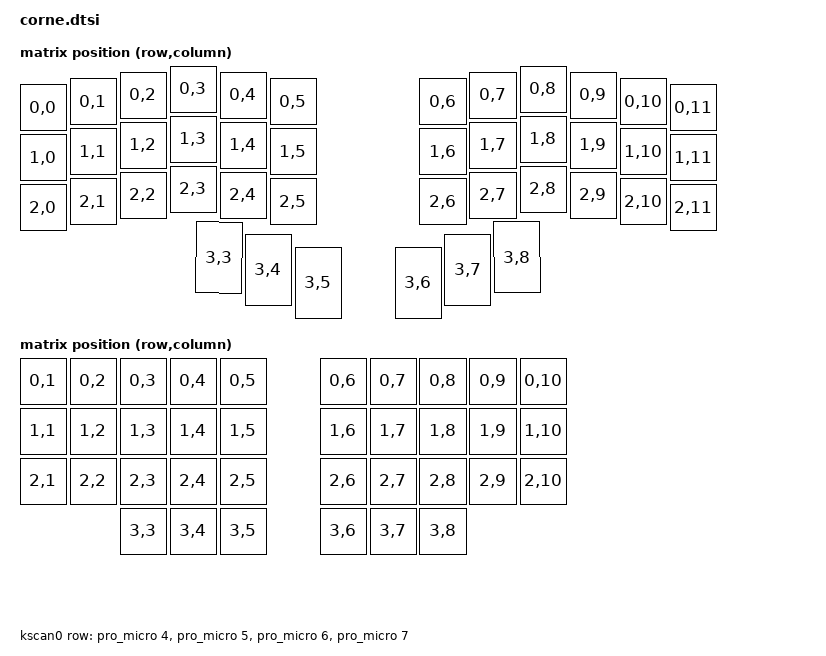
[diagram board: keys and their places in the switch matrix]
/*
 * Copyright (c) 2020 Pete Johanson
 *
 * SPDX-License-Identifier: MIT
 */

#include <dt-bindings/zmk/matrix_transform.h>

/ {
    chosen {
        zmk,kscan = &kscan0;
        zmk,physical-layout = &default_layout;
    };

    default_layout: keymap_layout_0 {
        compatible = "zmk,physical-layout";
        display-name = "Default";

        keys  //                     w   h    x    y     rot   rx   ry
            = <&key_physical_attrs 100 100    0   50       0    0    0>
            , <&key_physical_attrs 100 100  100   38       0    0    0>
            , <&key_physical_attrs 100 100  200   25       0    0    0>
            , <&key_physical_attrs 100 100  300   13       0    0    0>
            , <&key_physical_attrs 100 100  400   25       0    0    0>
            , <&key_physical_attrs 100 100  500   38       0    0    0>
            , <&key_physical_attrs 100 100  800   38       0    0    0>
            , <&key_physical_attrs 100 100  900   25       0    0    0>
            , <&key_physical_attrs 100 100 1000   13       0    0    0>
            , <&key_physical_attrs 100 100 1100   25       0    0    0>
            , <&key_physical_attrs 100 100 1200   38       0    0    0>
            , <&key_physical_attrs 100 100 1300   50       0    0    0>
            , <&key_physical_attrs 100 100    0  150       0    0    0>
            , <&key_physical_attrs 100 100  100  138       0    0    0>
            , <&key_physical_attrs 100 100  200  125       0    0    0>
            , <&key_physical_attrs 100 100  300  113       0    0    0>
            , <&key_physical_attrs 100 100  400  125       0    0    0>
            , <&key_physical_attrs 100 100  500  138       0    0    0>
            , <&key_physical_attrs 100 100  800  138       0    0    0>
            , <&key_physical_attrs 100 100  900  125       0    0    0>
            , <&key_physical_attrs 100 100 1000  113       0    0    0>
            , <&key_physical_attrs 100 100 1100  125       0    0    0>
            , <&key_physical_attrs 100 100 1200  138       0    0    0>
            , <&key_physical_attrs 100 100 1300  150       0    0    0>
            , <&key_physical_attrs 100 100    0  250       0    0    0>
            , <&key_physical_attrs 100 100  100  238       0    0    0>
            , <&key_physical_attrs 100 100  200  225       0    0    0>
            , <&key_physical_attrs 100 100  300  213       0    0    0>
            , <&key_physical_attrs 100 100  400  225       0    0    0>
            , <&key_physical_attrs 100 100  500  238       0    0    0>
            , <&key_physical_attrs 100 100  800  238       0    0    0>
            , <&key_physical_attrs 100 100  900  225       0    0    0>
            , <&key_physical_attrs 100 100 1000  213       0    0    0>
            , <&key_physical_attrs 100 100 1100  225       0    0    0>
            , <&key_physical_attrs 100 100 1200  238       0    0    0>
            , <&key_physical_attrs 100 100 1300  250       0    0    0>
            , <&key_physical_attrs 100 150  350  325      30  400  750>
            , <&key_physical_attrs 100 150  450  350      15  400  750>
            , <&key_physical_attrs 100 150  550  375       0  400  750>
            , <&key_physical_attrs 100 150  750  375       0  900  750>
            , <&key_physical_attrs 100 150  850  350     -15  900  750>
            , <&key_physical_attrs 100 150  950  325     -30  900  750>
            ;
    };

    default_transform: keymap_transform_0 {
        compatible = "zmk,matrix-transform";
        columns = <12>;
        rows = <4>;
// | SW1  | SW2  | SW3  | SW4  | SW5  | SW6  |   | SW6  | SW5  | SW4  | SW3  | SW2  | SW1  |
// | SW7  | SW8  | SW9  | SW10 | SW11 | SW12 |   | SW12 | SW11 | SW10 | SW9  | SW8  | SW7  |
// | SW13 | SW14 | SW15 | SW16 | SW17 | SW18 |   | SW18 | SW17 | SW16 | SW15 | SW14 | SW13 |
//                | SW19 | SW20 | SW21 |   | SW21 | SW20 | SW19 |
        map = <
RC(0,0) RC(0,1) RC(0,2) RC(0,3) RC(0,4) RC(0,5)  RC(0,6) RC(0,7) RC(0,8) RC(0,9) RC(0,10) RC(0,11)
RC(1,0) RC(1,1) RC(1,2) RC(1,3) RC(1,4) RC(1,5)  RC(1,6) RC(1,7) RC(1,8) RC(1,9) RC(1,10) RC(1,11)
RC(2,0) RC(2,1) RC(2,2) RC(2,3) RC(2,4) RC(2,5)  RC(2,6) RC(2,7) RC(2,8) RC(2,9) RC(2,10) RC(2,11)
                        RC(3,3) RC(3,4) RC(3,5)  RC(3,6) RC(3,7) RC(3,8)
        >;
    };

    five_column_transform: keymap_transform_1 {
        compatible = "zmk,matrix-transform";
        columns = <10>;
        rows = <4>;
// | SW2  | SW3  | SW4  | SW5  | SW6  |   | SW6  | SW5  | SW4  | SW3  | SW2  |
// | SW8  | SW9  | SW10 | SW11 | SW12 |   | SW12 | SW11 | SW10 | SW9  | SW8  |
// | SW14 | SW15 | SW16 | SW17 | SW18 |   | SW18 | SW17 | SW16 | SW15 | SW14 |
//            | SW19 | SW20 | SW21 |   | SW21 | SW20 | SW19 |
        map = <
RC(0,1) RC(0,2) RC(0,3) RC(0,4) RC(0,5)  RC(0,6) RC(0,7) RC(0,8) RC(0,9) RC(0,10)
RC(1,1) RC(1,2) RC(1,3) RC(1,4) RC(1,5)  RC(1,6) RC(1,7) RC(1,8) RC(1,9) RC(1,10)
RC(2,1) RC(2,2) RC(2,3) RC(2,4) RC(2,5)  RC(2,6) RC(2,7) RC(2,8) RC(2,9) RC(2,10)
                RC(3,3) RC(3,4) RC(3,5)  RC(3,6) RC(3,7) RC(3,8)
        >;
    };

    kscan0: kscan {
        compatible = "zmk,kscan-gpio-matrix";
        diode-direction = "col2row";
        wakeup-source;

        row-gpios
            = <&pro_micro 4 (GPIO_ACTIVE_HIGH | GPIO_PULL_DOWN)>
            , <&pro_micro 5 (GPIO_ACTIVE_HIGH | GPIO_PULL_DOWN)>
            , <&pro_micro 6 (GPIO_ACTIVE_HIGH | GPIO_PULL_DOWN)>
            , <&pro_micro 7 (GPIO_ACTIVE_HIGH | GPIO_PULL_DOWN)>
            ;

    };
};
